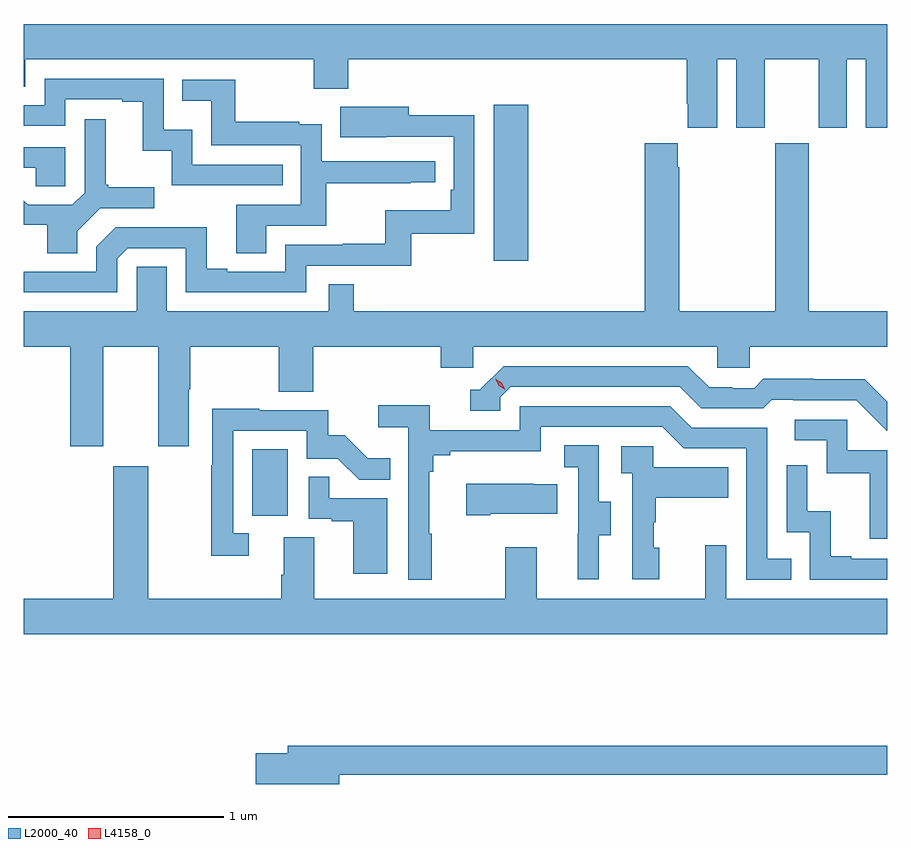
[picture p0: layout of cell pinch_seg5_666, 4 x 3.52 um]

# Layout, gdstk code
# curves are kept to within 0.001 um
import gdstk
lib = gdstk.Library(unit=1e-6, precision=1e-09)
def R(c, l, rs):  # rectangles x0, y0, x1, y1
    for r in rs: c.add(gdstk.rectangle(r[:2], r[2:], *l))
def P(c, l, *ps):  # polygons
    for p in ps: c.add(gdstk.Polygon(p, *l))
L2000_40 = (2000, 40)
L4158_0 = (4158, 0)

pinch_seg5_666 = lib.new_cell('pinch_seg5_666')
R(pinch_seg5_666, L2000_40, [(1045.994,838.662,1046.158,838.969), (1047.113,839.844,1047.274,840.565)])
P(pinch_seg5_666, L2000_40, [(1048.15,840.776),(1048.238,840.776),(1048.238,840.459),(1048.369,840.459),(1048.369,840.776),(1048.619,840.776),(1048.619,840.459),(1048.75,840.459),(1048.75,840.776),(1048.838,840.776),(1048.838,840.459),(1048.936,840.459),(1048.936,840.94),(1044.936,840.94),(1044.936,840.649),(1044.942,840.649),(1044.942,840.776),(1046.278,840.776),(1046.278,840.641),(1046.438,840.641),(1046.438,840.776),(1048.007,840.776),(1048.007,840.571),(1048.013,840.571),(1048.013,840.459),(1048.15,840.459)],
  [(1046.135,840.288),(1045.716,840.288),(1045.716,840.451),(1045.584,840.451),(1045.584,840.687),(1045.032,840.687),(1045.032,840.564),(1044.936,840.564),(1044.936,840.468),(1045.128,840.468),(1045.128,840.591),(1045.391,840.591),(1045.391,840.579),(1045.487,840.579),(1045.487,840.353),(1045.62,840.353),(1045.62,840.192),(1046.135,840.192)],
  [(1046.059,840.006),(1046.336,840.006),(1046.336,840.202),(1046.729,840.202),(1046.729,840.207),(1046.842,840.207),(1046.842,840.303),(1046.316,840.303),(1046.316,840.475),(1046.213,840.475),(1046.213,840.487),(1045.915,840.487),(1045.915,840.681),(1045.669,840.681),(1045.669,840.584),(1045.804,840.584),(1045.804,840.378),(1046.22,840.378),(1046.22,840.102),(1045.919,840.102),(1045.919,839.878),(1046.059,839.878)],
  [(1045.368,839.853),(1045.416,839.901),(1045.686,839.901),(1045.686,839.697),(1046.244,839.697),(1046.244,839.82),(1046.731,839.82),(1046.731,839.967),(1047.024,839.967),(1047.024,840.518),(1046.719,840.518),(1046.719,840.556),(1046.401,840.556),(1046.401,840.416),(1046.928,840.417),(1046.928,840.172),(1046.915,840.172),(1046.915,840.076),(1046.61,840.076),(1046.61,839.921),(1046.413,839.921),(1046.413,839.916),(1046.148,839.916),(1046.148,839.793),(1045.879,839.793),(1045.879,839.806),(1045.783,839.806),(1045.783,839.999),(1045.578,839.999),(1045.578,839.997),(1045.362,839.997),(1045.272,839.907),(1045.272,839.793),(1044.936,839.793),(1044.936,839.697),(1045.368,839.697)],
  [(1045.183,839.98),(1045.29,840.087),(1045.54,840.087),(1045.54,840.184),(1045.327,840.184),(1045.327,840.196),(1045.315,840.196),(1045.315,840.499),(1045.218,840.499),(1045.218,840.159),(1045.161,840.102),(1044.955,840.102),(1044.936,840.121),(1044.936,840.01),(1045.043,840.01),(1045.043,839.878),(1045.183,839.878)],
  [(1045.303,839.444),(1045.559,839.444),(1045.559,838.983),(1045.699,838.983),(1045.699,839.248),(1045.707,839.248),(1045.707,839.444),(1046.116,839.444),(1046.116,839.236),(1046.276,839.236),(1046.276,839.444),(1046.867,839.444),(1046.867,839.346),(1047.018,839.346),(1047.018,839.444),(1048.149,839.444),(1048.149,839.346),(1048.299,839.346),(1048.299,839.444),(1048.936,839.444),(1048.936,839.608),(1048.572,839.608),(1048.572,840.388),(1048.417,840.388),(1048.417,839.608),(1047.972,839.608),(1047.972,840.275),(1047.967,840.275),(1047.967,840.388),(1047.812,840.388),(1047.812,839.608),(1046.465,839.608),(1046.465,839.735),(1046.349,839.735),(1046.349,839.608),(1045.597,839.608),(1045.597,839.816),(1045.458,839.816),(1045.458,839.608),(1044.936,839.608),(1044.936,839.444),(1045.151,839.444),(1045.151,838.983),(1045.303,838.983)],
  [(1045.128,840.369),(1044.936,840.369),(1044.936,840.273),(1044.991,840.273),(1044.991,840.189),(1045.128,840.189)],
  [(1048.936,839.189),(1048.832,839.293),(1048.596,839.293),(1048.596,839.296),(1048.363,839.296),(1048.321,839.253),(1048.218,839.253),(1048.218,839.256),(1048.111,839.256),(1048.012,839.355),(1047.159,839.355),(1047.048,839.244),(1047.005,839.244),(1047.005,839.148),(1047.144,839.148),(1047.144,839.211),(1047.192,839.259),(1047.975,839.259),(1048.074,839.16),(1048.363,839.16),(1048.402,839.199),(1048.501,839.199),(1048.501,839.196),(1048.794,839.196),(1048.935,839.055)],
  [(1046.827,838.577),(1046.815,838.577),(1046.815,838.865),(1046.834,838.865),(1046.834,838.942),(1046.911,838.942),(1046.911,838.961),(1047.33,838.961),(1047.33,839.073),(1047.894,839.073),(1047.993,838.974),(1048.284,838.974),(1048.284,838.365),(1048.493,838.365),(1048.493,838.461),(1048.38,838.461),(1048.38,839.07),(1048.03,839.07),(1047.931,839.169),(1047.234,839.169),(1047.234,839.058),(1046.816,839.058),(1046.816,839.174),(1046.577,839.174),(1046.577,839.072),(1046.718,839.072),(1046.718,838.365),(1046.827,838.365)],
  [(1045.978,838.581),(1045.905,838.581),(1045.905,839.055),(1046.247,839.055),(1046.247,838.926),(1046.391,838.926),(1046.489,838.828),(1046.633,838.828),(1046.633,838.927),(1046.529,838.927),(1046.422,839.034),(1046.346,839.034),(1046.346,839.151),(1046.027,839.151),(1046.027,839.156),(1045.809,839.156),(1045.809,838.895),(1045.804,838.895),(1045.804,838.476),(1045.978,838.476)],
  [(1048.936,838.965),(1048.752,838.965),(1048.752,839.106),(1048.509,839.106),(1048.509,839.01),(1048.656,839.01),(1048.656,838.857),(1048.855,838.857),(1048.855,838.554),(1048.936,838.554)],
  [(1047.601,838.57),(1047.655,838.57),(1047.655,838.725),(1047.6,838.725),(1047.6,838.988),(1047.441,838.988),(1047.441,838.885),(1047.504,838.885),(1047.504,838.581),(1047.503,838.581),(1047.503,838.368),(1047.601,838.368)],
  [(1047.88,838.512),(1047.855,838.512),(1047.855,838.631),(1047.865,838.631),(1047.865,838.745),(1048.199,838.745),(1048.199,838.885),(1047.852,838.885),(1047.852,838.983),(1047.705,838.983),(1047.705,838.859),(1047.756,838.859),(1047.756,838.368),(1047.88,838.368)],
  [(1048.936,838.461),(1048.771,838.461),(1048.771,838.474),(1048.676,838.474),(1048.676,838.682),(1048.566,838.682),(1048.566,838.894),(1048.47,838.894),(1048.47,838.584),(1048.578,838.584),(1048.578,838.365),(1048.936,838.365)],
  [(1048.936,838.276),(1048.191,838.276),(1048.191,838.525),(1048.094,838.525),(1048.094,838.276),(1047.313,838.276),(1047.313,838.516),(1047.166,838.516),(1047.166,838.276),(1046.281,838.276),(1046.281,838.562),(1046.141,838.562),(1046.141,838.388),(1046.129,838.388),(1046.129,838.276),(1045.513,838.276),(1045.513,838.891),(1045.349,838.891),(1045.349,838.276),(1044.936,838.276),(1044.936,838.112),(1048.936,838.112)],
  [(1046.62,838.743),(1046.351,838.743),(1046.351,838.841),(1046.256,838.841),(1046.256,838.647),(1046.363,838.647),(1046.363,838.635),(1046.462,838.635),(1046.462,838.392),(1046.62,838.392)],
  [(1047.097,838.67),(1047.407,838.67),(1047.407,838.807),(1047.299,838.807),(1047.299,838.81),(1046.985,838.81),(1046.985,838.663),(1047.097,838.663)],
  [(1046.398,837.46),(1048.936,837.46),(1048.936,837.596),(1046.159,837.596),(1046.159,837.56),(1046.01,837.56),(1046.01,837.418),(1046.398,837.418)])
P(pinch_seg5_666, L4158_0, [(1047.167,839.244),(1047.136,839.263),(1047.12,839.296),(1047.12,839.297),(1047.12,839.297),(1047.151,839.277),(1047.167,839.244),(1047.167,839.244)])

lib.write_gds('pinch_seg5_666.gds')
